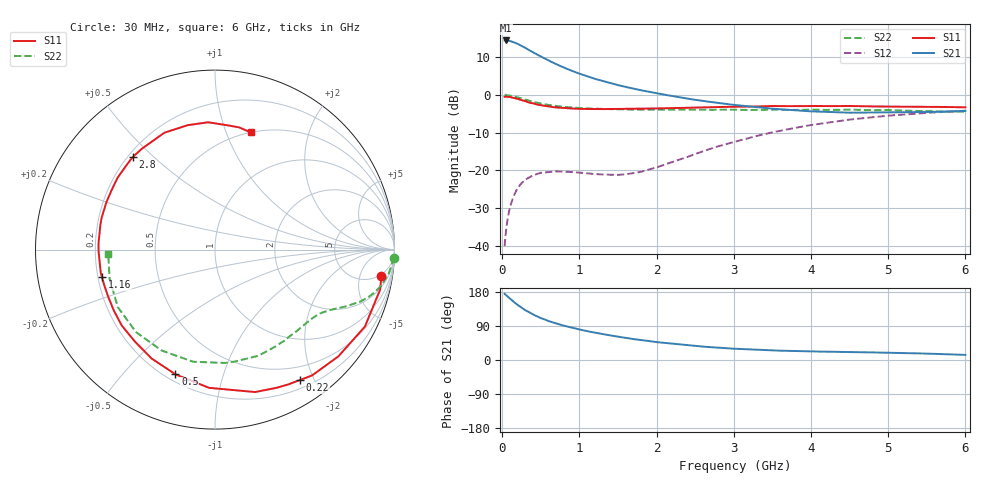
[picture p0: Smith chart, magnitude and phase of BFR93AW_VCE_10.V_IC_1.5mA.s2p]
! Infineon Technologies  Discrete & RF Semiconductors
! BFR93AW
! VCE =  10. V,  IC =  1.5 mA
! Common Emitter S-Parameters:  Nov 2015
# GHz  S  MA  R  50
!  f  S11  S21  S12  S22
! GHz  MAG  ANG  MAG  ANG  MAG  ANG  MAG  ANG
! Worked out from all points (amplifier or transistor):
!   206 points, 30 MHz to 6 GHz, reference 50 ohm
!   highest |S21| = 14.4 dB at 50 MHz (marker M1)
!   |S21| within 3 dB of that: start of sweep to 385.7 MHz
!   unconditionally stable (mu >= 1): 1.295 GHz to 2.28 GHz
!   at 200 MHz: K = 0.13, MSG = 19.1 dB, |S12| = -24.7 dB
!   at 1.56 GHz: K = 1.16, MAG = 9.2 dB, |S12| = -21.1 dB
!   at 6 GHz: K = 0.99, MSG = 0.0 dB, |S12| = -4.2 dB
!   S11 on the Smith chart (normalised r, x): 30 MHz: 4, -11; 220 MHz: 0.31, -1.81; 500 MHz: 0.24, -0.70; 1.16 GHz: 0.22, -0.12; 2.8 GHz: 0.22, +0.43; 6 GHz: 0.50, +1.22
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0.03  0.939 -9.1  5.222 174.7  0.0099 82.6  1 -2.6
0.05  0.9467 -13.6  5.235 170.8  0.0165 81.2  0.9913 -4.2
0.1  0.939 -27.2  5.161 162.0  0.0325 75.2  0.9762 -8.2
0.15  0.909 -40.9  4.956 153.0  0.0461 67.3  0.9507 -11.8
0.2  0.8853 -52.4  4.714 145.2  0.0585 61.9  0.9228 -14.9
0.22  0.8673 -56.9  4.595 142.3  0.0621 59.2  0.9097 -15.9
0.26  0.8433 -65.9  4.382 136.5  0.0692 54.8  0.8846 -17.9
0.3  0.8244 -74.3  4.17 131.2  0.0753 51.0  0.861 -19.6
0.4  0.7708 -92.5  3.64 119.8  0.0862 43.7  0.8067 -22.8
0.5  0.729 -107.6  3.211 110.5  0.0927 37.9  0.7638 -25.2
0.6  0.7021 -120.2  2.83 102.7  0.095 34.2  0.7328 -27.1
0.7  0.6794 -131.1  2.539 96.3  0.0967 32.0  0.7099 -28.9
0.84  0.6638 -144.0  2.2 88.4  0.0957 30.3  0.6853 -31.3
1.04  0.6487 -158.5  1.842 78.7  0.0925 31.0  0.6641 -35.1
1.16  0.6481 -166.2  1.677 73.7  0.0899 32.8  0.6559 -37.6
1.6  0.6492 172.0  1.268 58.3  0.0886 49.3  0.6391 -47.2
2.02  0.6603 155.8  1.038 46.8  0.1111 67.3  0.6364 -58.1
2.8  0.69 131.7  0.78 32.5  0.2083 77.2  0.6337 -79.6
3.1  0.6945 123.4  0.718 28.9  0.2527 75.0  0.6305 -88.1
4.1  0.7084 100.4  0.598 22.3  0.4109 61.4  0.6319 -120.9
5.1  0.6958 84.0  0.585 18.7  0.5375 44.3  0.6219 -152.3
6  0.6824 73.1  0.61 13.5  0.6155 30.4  0.5955 -177.8
